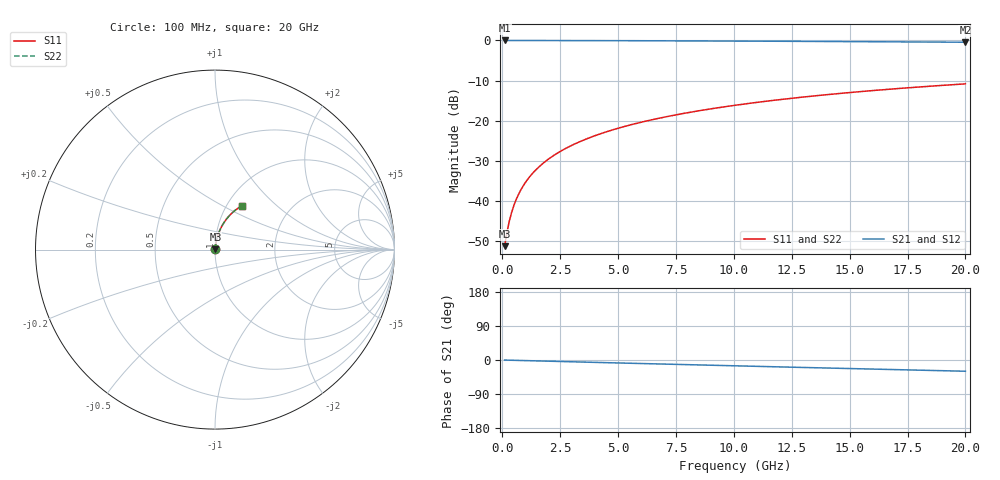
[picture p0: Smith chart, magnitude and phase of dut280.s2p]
! Touchstone file exported from HFSS 2026.1.0
!  File:  C:/ffzhzh/LocalFiles/Ansys_Project_Files/temp_train_BSMRDL_280_1782989089_45328.aedt
!  Generated:  06:46:01 PM Jul  2, 2026
!  Design:  BSMRDL
!  Project:  temp_train_BSMRDL_280_1782989089_45328
! Variables:
!  h_bsmrdl = 5.62um
!  h_ox = 20um
!  h_rdl = 5um
!  h_sub = 80um
!  h_tmrdl = 5um
!  h_tsv = 80um
!  h_via = 3um
!  l_bsmrdl = 427.11um
!  l_sub = 827.11um
!  l_tmrdl = 200um
!  m_sub = 200um
!  pitch = 36.21um
!  r_tsv = 6um
!  s_tmrdl = 10um
!  w_bsmrdl = 13.47um
!  w_sub = 500um
!  w_tmrdl = 12um
!  x_tsv_center1 = 206um
!  x_tsv_center2 = 646.58um
!  x_tsv_center3 = 858.58um
!  x_tsv_center4 = 1299.16um
!  x_tsv_center5 = 1511.16um
!  x_tsv_center6 = 1951.74um
# GHz S MA R 50.000000
! Terminal data exported
! Port[1] = BSM_RDL1_1_T1
! Port[2] = BSM_RDL1_1_T2
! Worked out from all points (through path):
!   200 points, 100 MHz to 20 GHz, reference 50 ohm
!   highest |S21| = -0.02 dB at 100 MHz (marker M1); lowest = -0.5 dB at 20 GHz (marker M2)
!   group delay of S21, straight-line fit = 4.11 ps
!   lowest |S11| = -51.3 dB at 100 MHz (marker M3), VSWR 1.01, Z = 50.2 + j0.176 ohm
!   |S11| at or under -10 dB: start of sweep to end of sweep
!   |S22| runs from -51.3 to -10.8 dB; largest |S21 - S12| = 2.7e-15
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0.1  0.002725 39.9  0.9979 -0.2  0.9979 -0.2  0.002725 39.9
! Gamma 0 0 0 0
! Port Impedance 50 0 50 0
0.2  0.004028 59.1  0.9978 -0.3  0.9978 -0.3  0.004034 59.1
0.3  0.00554 68.0  0.9978 -0.5  0.9978 -0.5  0.005552 68.0
0.4  0.007128 72.8  0.9977 -0.6  0.9977 -0.6  0.007142 72.8
0.5  0.008748 75.6  0.9976 -0.8  0.9976 -0.8  0.008764 75.7
0.6  0.01039 77.5  0.9976 -1.0  0.9976 -1.0  0.0104 77.5
0.8  0.01368 79.6  0.9974 -1.3  0.9974 -1.3  0.0137 79.6
1.1  0.01862 81.1  0.9972 -1.8  0.9972 -1.8  0.01864 81.1
1.3  0.0219 81.5  0.9971 -2.1  0.9971 -2.1  0.02191 81.5
1.5  0.02517 81.7  0.9969 -2.4  0.9969 -2.4  0.02518 81.7
1.8  0.03003 81.8  0.9967 -2.9  0.9967 -2.9  0.03004 81.8
2.1  0.03487 81.7  0.9963 -3.3  0.9963 -3.3  0.03487 81.7
2.7  0.04444 81.3  0.9956 -4.3  0.9956 -4.3  0.04445 81.3
3.5  0.05706 80.5  0.9945 -5.5  0.9945 -5.5  0.05706 80.5
4.2  0.06797 79.7  0.9933 -6.6  0.9933 -6.6  0.06797 79.7
5  0.08032 78.7  0.9919 -7.8  0.9919 -7.8  0.08032 78.7
6.8  0.1076 76.3  0.9883 -10.5  0.9883 -10.5  0.1076 76.3
8.3  0.1299 74.3  0.9849 -12.8  0.9849 -12.8  0.1299 74.3
10.1  0.156 71.9  0.9805 -15.5  0.9805 -15.5  0.156 71.9
13.4  0.2023 67.3  0.971 -20.3  0.971 -20.3  0.2023 67.4
16.7  0.2461 62.8  0.9601 -25.0  0.9601 -25.0  0.2461 62.9
20  0.2871 58.4  0.9481 -29.7  0.9481 -29.7  0.2871 58.4
